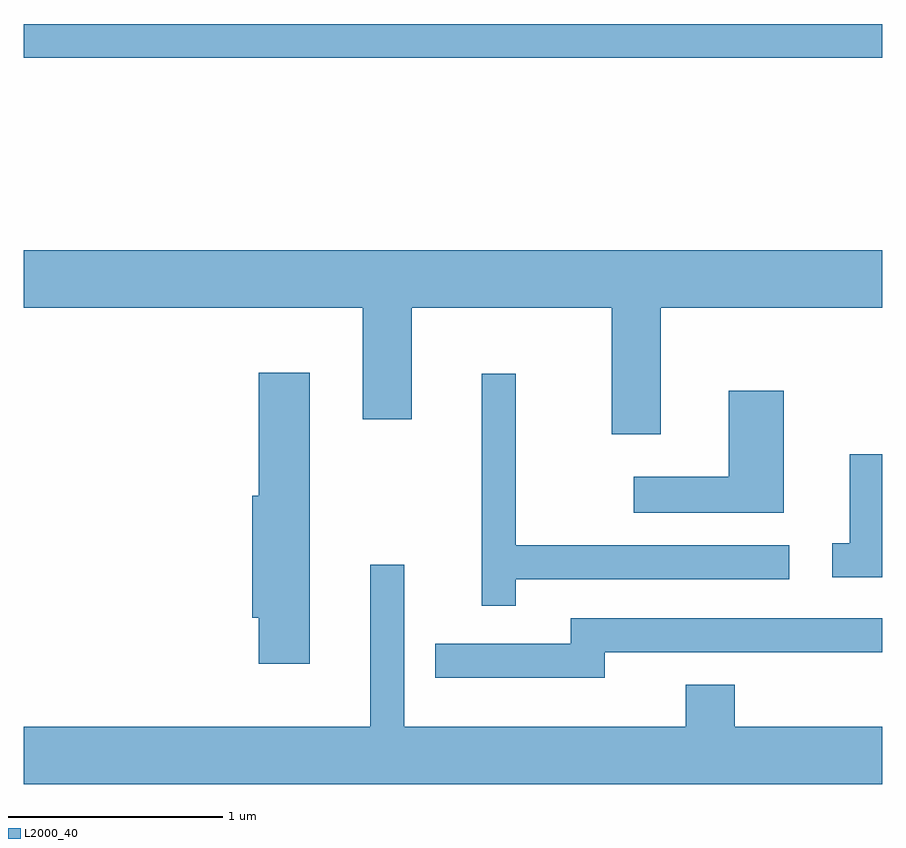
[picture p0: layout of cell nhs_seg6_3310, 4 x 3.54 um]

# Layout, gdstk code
import gdstk
lib = gdstk.Library(unit=1e-6, precision=1e-09)
def R(c, l, rs):  # rectangles x0, y0, x1, y1
    for r in rs: c.add(gdstk.rectangle(r[:2], r[2:], *l))
def P(c, l, *ps):  # polygons
    for p in ps: c.add(gdstk.Polygon(p, *l))
L2000_40 = (2000, 40)

nhs_seg6_3310 = lib.new_cell('nhs_seg6_3310')
R(nhs_seg6_3310, L2000_40, [(285.611,1557.861,289.611,1558.019)])
P(nhs_seg6_3310, L2000_40, [(288.579,1556.696),(289.611,1556.696),(289.611,1556.964),(285.611,1556.964),(285.611,1556.696),(287.191,1556.696),(287.191,1556.176),(287.419,1556.176),(287.419,1556.696),(288.351,1556.696),(288.351,1556.106),(288.579,1556.106)],
  [(286.944,1556.394),(286.706,1556.394),(286.706,1555.819),(286.676,1555.819),(286.676,1555.251),(286.706,1555.251),(286.706,1555.036),(286.944,1555.036)],
  [(287.904,1555.431),(289.178,1555.431),(289.178,1555.589),(287.904,1555.589),(287.904,1556.388),(287.746,1556.388),(287.746,1555.308),(287.904,1555.308)],
  [(289.154,1556.309),(288.896,1556.309),(288.896,1555.909),(288.453,1555.909),(288.453,1555.741),(289.154,1555.741)],
  [(289.611,1556.014),(289.461,1556.014),(289.461,1555.599),(289.378,1555.599),(289.378,1555.441),(289.611,1555.441)],
  [(289.611,1554.744),(288.924,1554.744),(288.924,1554.939),(288.696,1554.939),(288.696,1554.744),(287.384,1554.744),(287.384,1555.498),(287.226,1555.498),(287.226,1554.744),(285.611,1554.744),(285.611,1554.476),(289.611,1554.476)],
  [(288.319,1555.091),(289.611,1555.091),(289.611,1555.249),(288.161,1555.249),(288.161,1555.129),(287.528,1555.129),(287.528,1554.971),(288.319,1554.971)])

lib.write_gds('nhs_seg6_3310.gds')
